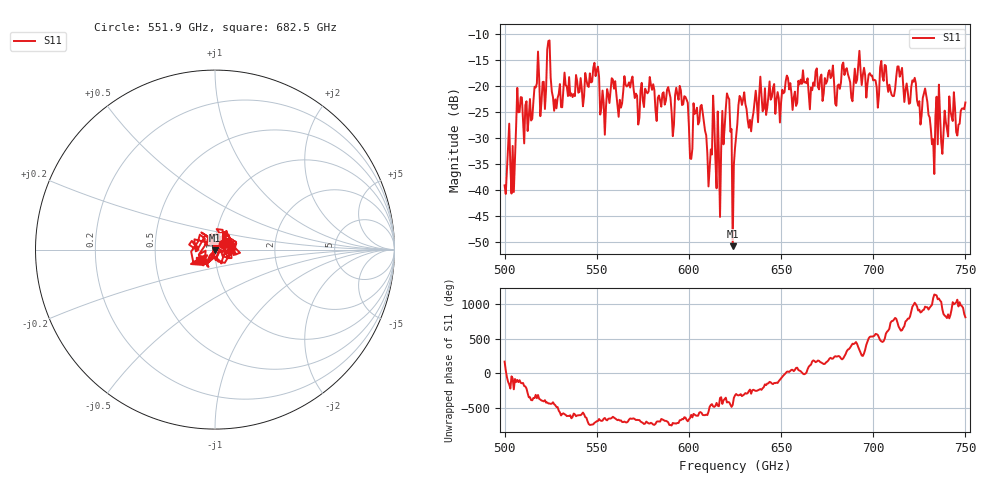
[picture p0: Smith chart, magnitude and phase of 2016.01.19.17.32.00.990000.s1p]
!Created with skrf (http://scikit-rf.org).
# GHz S RI R 50.0
!freq ReS11 ImS11
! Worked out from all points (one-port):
!   401 points, 500 GHz to 750 GHz, reference 50 ohm
!   lowest |S11| = -50.7 dB at 623.8 GHz (marker M1), VSWR 1.01, Z = 49.9 - j0.284 ohm
!   |S11| at or under -10 dB: start of sweep to end of sweep
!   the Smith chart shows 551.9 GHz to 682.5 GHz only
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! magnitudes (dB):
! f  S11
! 500 GHz  -39.1
! 504.4 GHz  -31.5
! 508.1 GHz  -25.0
! 513.8 GHz  -22.5
! 523.8 GHz  -11.4
! 526.9 GHz  -24.8
! 531.2 GHz  -24.1
! 549.4 GHz  -18.2
! 553.1 GHz  -20.9
! 558.8 GHz  -18.8
! 562.5 GHz  -22.7
! 593.8 GHz  -21.7
! 600.6 GHz  -33.9
! 607.5 GHz  -25.2
! 611.2 GHz  -35.8
! 614.4 GHz  -34.2
! 615.6 GHz  -24.9
! 621.2 GHz  -22.2
! 623.8 GHz  -50.7
! 625 GHz  -32.0
! 628.8 GHz  -23.7
! 633.1 GHz  -26.5
! 656.2 GHz  -24.6
! 687.5 GHz  -19.3
! 718.8 GHz  -21.2
! 728.1 GHz  -20.5
! 731.9 GHz  -31.2
! 750 GHz  -23.2
